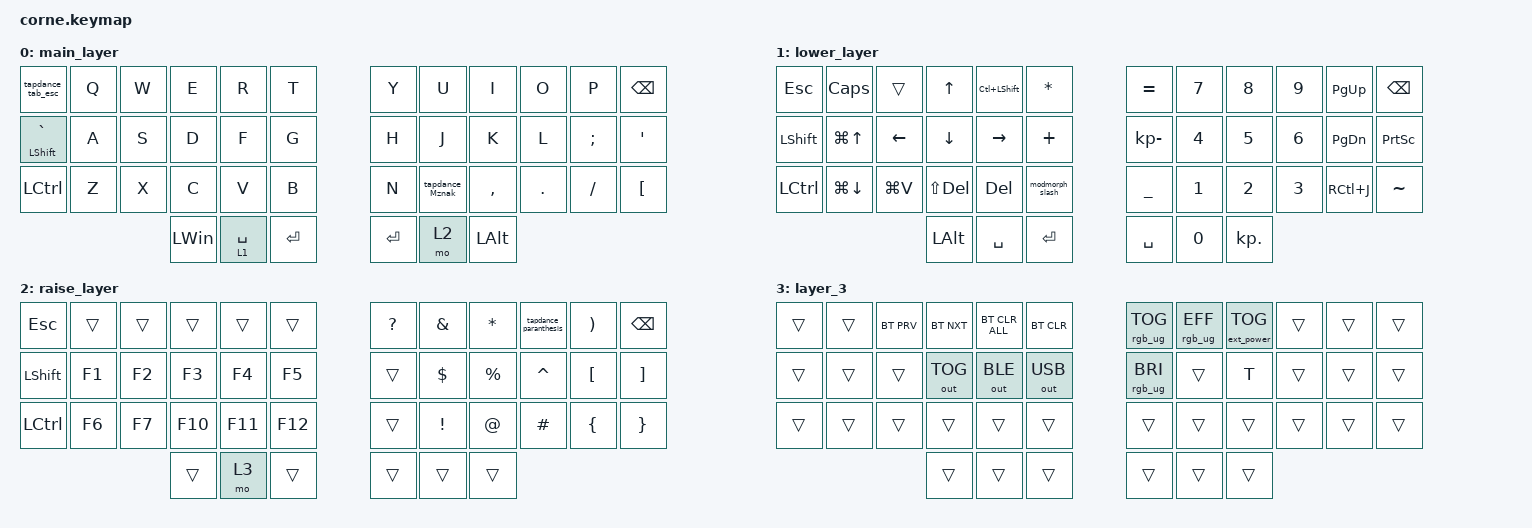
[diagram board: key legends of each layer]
/*
 * Copyright (c) 2020 The ZMK Contributors
 *
 * SPDX-License-Identifier: MIT
 */

#include <behaviors.dtsi>
#include <dt-bindings/zmk/bt.h>
#include <dt-bindings/zmk/ext_power.h>
#include <dt-bindings/zmk/keys.h>
#include <dt-bindings/zmk/outputs.h>
#include <dt-bindings/zmk/rgb.h>

/ {
    combos { compatible = "zmk,combos"; };

    behaviors {
        ss_hs_modmorph: ss_hs_modmorph {
            compatible = "zmk,behavior-mod-morph";
            label = "SS_HS_MODMORPH";
            bindings = <&kp M>, <&kp RIGHT_BRACKET>;

            #binding-cells = <0>;
            mods = <(MOD_LSFT|MOD_RSFT)>;
        };

        tapdance_brackets: tapdance_brackets {
            compatible = "zmk,behavior-tap-dance";
            label = "TAPDANCE_BRACKETS";
            #binding-cells = <0>;
            tapping-term-ms = <200>;
            bindings = <&kp LEFT_BRACKET>, <&kp RIGHT_BRACKET>;
        };

        holdtap_TUI: holdtap_TUI {
            compatible = "zmk,behavior-hold-tap";
            #binding-cells = <2>;
            flavor = "tap-unless-interrupted";
            tapping-term-ms = <200>;
            require-prior-idle-ms = <125>;
            bindings = <&kp>, <&kp>;

            label = "HOLDTAP_TUI";
        };

        tapdance_tab_esc: tapdance_tab_esc {
            compatible = "zmk,behavior-tap-dance";
            label = "TAPDANCE_TAB_ESC";
            #binding-cells = <0>;
            bindings = <&kp TAB>, <&kp ESCAPE>;
        };

        tapdance_Mznak: tapdance_Mznak {
            compatible = "zmk,behavior-tap-dance";
            label = "TAPDANCE_MZNAK";
            #binding-cells = <0>;
            bindings = <&kp M>, <&kp RBKT>;
        };

        tapdance_slash: tapdance_slash {
            compatible = "zmk,behavior-tap-dance";
            label = "TAPDANCE_SLASH";
            #binding-cells = <0>;
            bindings = <&kp KP_SLASH>, <&kp PIPE>;
        };

        tapdance_braces: tapdance_braces {
            compatible = "zmk,behavior-tap-dance";
            label = "TAPDANCE_BRACES";
            #binding-cells = <0>;
            bindings = <&kp LBRC>, <&kp RBRC>;
        };

        tapdance_paranthesis: tapdance_paranthesis {
            compatible = "zmk,behavior-tap-dance";
            label = "TAPDANCE_PARANTHESIS";
            #binding-cells = <0>;
            bindings = <&kp LPAR>, <&kp RIGHT_PARENTHESIS>;
        };

        holdtap_spase: holdtap_spase {
            compatible = "zmk,behavior-hold-tap";
            label = "HOLDTAP_SPASE";
            bindings = <&mo>, <&kp>;

            #binding-cells = <2>;
            tapping-term-ms = <200>;
        };

        modmorph_slash: modmorph_slash {
            compatible = "zmk,behavior-mod-morph";
            label = "MODMORPH_SLASH";
            bindings = <&tapdance_slash>, <&kp BACKSLASH>;

            #binding-cells = <0>;
            mods = <(MOD_LSFT|MOD_RSFT)>;
        };

        holdtap_hold_preferred: holdtap_hold_preferred {
            compatible = "zmk,behavior-hold-tap";
            label = "HOLDTAP_HOLD_PREFERRED";
            bindings = <&kp>, <&kp>;

            #binding-cells = <2>;
            tapping-term-ms = <200>;
        };
    };

    keymap {
        compatible = "zmk,keymap";

        main_layer {
            // -----------------------------------------------------------------------------------------
            // |  TAB |  Q  |  W  |  E  |  R  |  T  |   |  Y  |  U   |  I  |  O  |  P  | BKSP |
            // | CTRL |  A  |  S  |  D  |  F  |  G  |   |  H  |  J   |  K  |  L  |  ;  |  '   |
            // | SHFT |  Z  |  X  |  C  |  V  |  B  |   |  N  |  M   |  ,  |  .  |  /  | ESC  |
            //                    | GUI | LWR | SPC |   | ENT | RSE  | ALT |

            bindings = <
&tapdance_tab_esc                     &kp Q  &kp W  &kp E         &kp R                   &kp T        &kp Y      &kp U            &kp I         &kp O    &kp P     &kp BSPC
&holdtap_hold_preferred LSHIFT GRAVE  &kp A  &kp S  &kp D         &kp F                   &kp G        &kp H      &kp J            &kp K         &kp L    &kp SEMI  &kp SQT
&kp LCTRL                             &kp Z  &kp X  &kp C         &kp V                   &kp B        &kp N      &tapdance_Mznak  &kp COMMA     &kp DOT  &kp FSLH  &kp LEFT_BRACKET
                                                    &kp LEFT_WIN  &holdtap_spase 1 SPACE  &kp ENTER    &kp ENTER  &mo 2            &kp LEFT_ALT
            >;
        };

        lower_layer {
            // -----------------------------------------------------------------------------------------
            // |  TAB |  1  |  2  |  3  |  4  |  5  |   |  6  |  7  |  8  |  9  |  0  | BKSP |
            // | BTCLR| BT1 | BT2 | BT3 | BT4 | BT5 |   | LFT | DWN |  UP | RGT |     |      |
            // | SHFT |     |     |     |     |     |   |     |     |     |     |     |      |
            //                    | GUI |     | SPC |   | ENT |     | ALT |

            bindings = <
&kp ESC     &kp CAPS      &trans     &kp UP          &kp LC(LEFT_SHIFT)  &kp ASTERISK       &kp EQUAL       &kp N7        &kp N8        &kp N9        &kp PAGE_UP    &kp BSPC
&kp LSHIFT  &kp LG(UP)    &kp LEFT   &kp DOWN        &kp RIGHT           &kp PLUS           &kp KP_MINUS    &kp NUMBER_4  &kp N5        &kp NUMBER_6  &kp PAGE_DOWN  &kp PSCRN
&kp LCTRL   &kp LG(DOWN)  &kp LG(V)  &kp LS(DELETE)  &kp DEL             &modmorph_slash    &kp UNDERSCORE  &kp NUMBER_1  &kp NUMBER_2  &kp NUMBER_3  &kp RC(J)      &kp TILDE
                                     &kp LEFT_ALT    &kp SPACE           &kp ENTER          &kp SPACE       &kp NUMBER_0  &kp KP_DOT
            >;
        };

        raise_layer {
            // -----------------------------------------------------------------------------------------
            // |  TAB |  !  |  @  |  #  |  $  |  %  |   |  ^  |  &  |  *  |  (  |  )  | BKSP |
            // | CTRL |     |     |     |     |     |   |  -  |  =  |  [  |  ]  |  \  |  `   |
            // | SHFT |     |     |     |     |     |   |  _  |  +  |  {  |  }  | "|" |  ~   |
            //                    | GUI |     | SPC |   | ENT |     | ALT |

            bindings = <
&kp ESC     &trans  &trans  &trans   &trans   &trans     &kp QUESTION  &kp AMPERSAND    &kp ASTRK    &tapdance_paranthesis  &kp RPAR          &kp BSPC
&kp LSHIFT  &kp F1  &kp F2  &kp F3   &kp F4   &kp F5     &trans        &kp DOLLAR       &kp PERCENT  &kp CARET              &kp LEFT_BRACKET  &kp RIGHT_BRACKET
&kp LCTRL   &kp F6  &kp F7  &kp F10  &kp F11  &kp F12    &trans        &kp EXCLAMATION  &kp AT_SIGN  &kp HASH               &kp LEFT_BRACE    &kp RIGHT_BRACE
                            &trans   &mo 3    &trans     &trans        &trans           &trans
            >;
        };

        layer_3 {
            bindings = <
&trans  &trans  &bt BT_PRV  &bt BT_NXT    &bt BT_CLR_ALL  &bt BT_CLR      &rgb_ug RGB_TOG  &rgb_ug RGB_EFF  &ext_power EP_TOG  &trans  &trans  &trans
&trans  &trans  &trans      &out OUT_TOG  &out OUT_BLE    &out OUT_USB    &rgb_ug RGB_BRI  &trans           &kp T              &trans  &trans  &trans
&trans  &trans  &trans      &trans        &trans          &trans          &trans           &trans           &trans             &trans  &trans  &trans
                            &trans        &trans          &trans          &trans           &trans           &trans
            >;
        };
    };

    conditional_layers { compatible = "zmk,conditional-layers"; };
};
